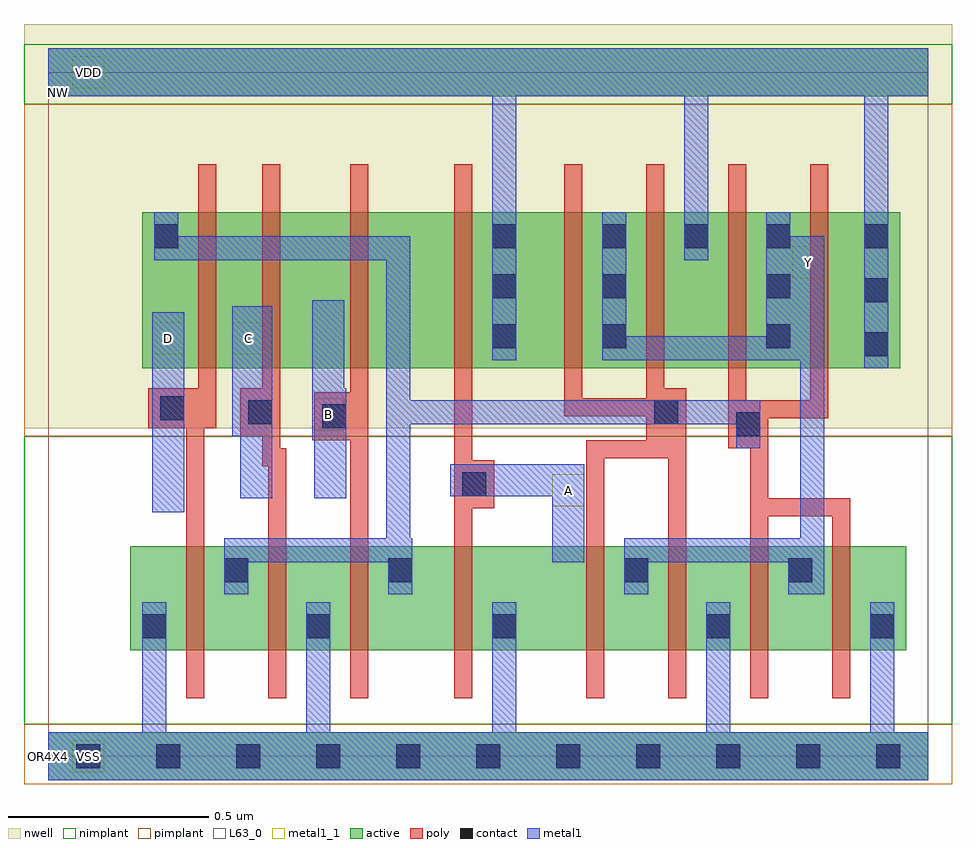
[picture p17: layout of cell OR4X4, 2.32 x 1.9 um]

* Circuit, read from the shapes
.subckt OR4X4 A B C D NW VDD VSS Y
M1 n1 D VSS VSS nfet w=0.26u l=0.045u
M2 VSS C n1 VSS nfet w=0.26u l=0.045u
M3 n1 B VSS VSS nfet w=0.26u l=0.045u
M4 VSS A n1 VSS nfet w=0.26u l=0.045u
M5 Y n1 VSS VSS nfet w=0.26u l=0.045u m=4
M6 n2 D n1 NW pfet w=0.39u l=0.045u
M7 n3 C n2 NW pfet w=0.39u l=0.045u
M8 n4 B n3 NW pfet w=0.39u l=0.045u
M9 VDD A n4 NW pfet w=0.39u l=0.045u
M10 Y n1 VDD NW pfet w=0.39u l=0.045u m=4
.ends

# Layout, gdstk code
import gdstk
lib = gdstk.Library(unit=1e-6, precision=5e-10)
def R(c, l, rs):  # rectangles x0, y0, x1, y1
    for r in rs: c.add(gdstk.rectangle(r[:2], r[2:], *l))
def A(c, l, x, y, w, h, nx, ny, dx, dy):  # array of equal rectangles
    R(c, l, [(x+i*dx, y+j*dy, x+i*dx+w, y+j*dy+h) for i in range(nx) for j in range(ny)])
def P(c, l, *ps):  # polygons
    for p in ps: c.add(gdstk.Polygon(p, *l))
active = (1, 0)
nwell = (2, 0)
poly = (3, 0)
nimplant = (4, 0)
pimplant = (5, 0)
contact = (6, 0)
metal1 = (7, 0)
metal1_1 = (7, 1)
L63_0 = (63, 0)

or4x4 = lib.new_cell('OR4X4')
R(or4x4, active, [(0,-0.06,2.2,0.06), (0.205,0.265,2.145,0.525), (0.235,0.97,2.13,1.36), (0,1.65,2.2,1.77)])
R(or4x4, nwell, [(-0.06,0.82,2.26,1.83), (0,1.61,0.05,1.71)])
P(or4x4, poly, [(0.375,1.48),(0.42,1.48),(0.42,0.82),(0.39,0.82),(0.39,0.145),(0.345,0.145),(0.345,0.82),(0.25,0.82),(0.25,0.92),(0.375,0.92)],
  [(0.535,1.48),(0.58,1.48),(0.58,0.77),(0.595,0.77),(0.595,0.145),(0.55,0.145),(0.55,0.725),(0.535,0.725),(0.535,0.8),(0.48,0.8),(0.48,0.92),(0.535,0.92)],
  [(0.755,1.48),(0.8,1.48),(0.8,0.145),(0.755,0.145),(0.755,0.79),(0.665,0.79),(0.665,0.91),(0.755,0.91)],
  [(1.015,1.48),(1.06,1.48),(1.06,0.74),(1.115,0.74),(1.115,0.62),(1.06,0.62),(1.06,0.145),(1.015,0.145)],
  [(1.29,1.48),(1.335,1.48),(1.335,0.895),(1.495,0.895),(1.495,1.48),(1.54,1.48),(1.54,0.92),(1.595,0.92),(1.595,0.145),(1.55,0.145),(1.55,0.745),(1.39,0.745),(1.39,0.145),(1.345,0.145),(1.345,0.79),(1.495,0.79),(1.495,0.85),(1.29,0.85)],
  [(1.7,1.48),(1.745,1.48),(1.745,0.89),(1.905,0.89),(1.905,1.48),(1.95,1.48),(1.95,0.845),(1.8,0.845),(1.8,0.645),(2.005,0.645),(2.005,0.145),(1.96,0.145),(1.96,0.6),(1.8,0.6),(1.8,0.145),(1.755,0.145),(1.755,0.77),(1.7,0.77)])
R(or4x4, nimplant, [(-0.06,0.08,2.26,0.8), (-0.06,1.63,2.26,1.78)])
R(or4x4, pimplant, [(-0.06,-0.07,2.26,0.08), (-0.06,0.8,2.26,1.63)])
A(or4x4, contact, 0.07, -0.03, 0.06, 0.06, 11, 1, 0.2, 0)
A(or4x4, contact, 2.04, 1, 0.06, 0.06, 1, 3, 0, 0.135)
A(or4x4, contact, 1.11, 1.02, 0.06, 0.06, 1, 3, 0, 0.125)
A(or4x4, contact, 1.385, 1.27, 0.06, 0.06, 3, 1, 0.205, 0)
R(or4x4, contact, [(0.235,0.295,0.295,0.355), (0.645,0.295,0.705,0.355), (1.11,0.295,1.17,0.355), (1.645,0.295,1.705,0.355), (2.055,0.295,2.115,0.355), (0.44,0.435,0.5,0.495), (0.85,0.435,0.91,0.495), (1.44,0.435,1.5,0.495), (1.85,0.435,1.91,0.495), (1.035,0.65,1.095,0.71), (1.72,0.8,1.78,0.86), (0.685,0.82,0.745,0.88), (0.5,0.83,0.56,0.89), (1.515,0.83,1.575,0.89), (0.28,0.84,0.34,0.9), (1.385,1.02,1.445,1.08), (1.795,1.02,1.855,1.08), (1.385,1.145,1.445,1.205), (1.795,1.145,1.855,1.205), (0.265,1.27,0.325,1.33)])
R(or4x4, metal1, [(0.235,0.06,0.295,0.385), (0.645,0.06,0.705,0.385), (1.11,0.06,1.17,0.385), (1.645,0.06,1.705,0.385), (2.055,0.06,2.115,0.385), (0.26,0.61,0.34,1.11), (2.04,0.97,2.1,1.65), (1.11,0.99,1.17,1.65), (1.59,1.24,1.65,1.65)])
P(or4x4, metal1, [(0.265,1.36),(0.325,1.36),(0.325,1.3),(0.905,1.3),(0.905,0.89),(1.78,0.89),(1.78,0.77),(1.72,0.77),(1.72,0.83),(0.905,0.83),(0.905,0.545),(0.91,0.545),(0.91,0.405),(0.85,0.405),(0.85,0.485),(0.5,0.485),(0.5,0.405),(0.44,0.405),(0.44,0.545),(0.845,0.545),(0.845,1.24),(0.265,1.24)],
  [(0.46,1.125),(0.56,1.125),(0.56,0.645),(0.48,0.645),(0.48,0.8),(0.46,0.8)],
  [(0.66,1.14),(0.74,1.14),(0.74,0.92),(0.745,0.92),(0.745,0.645),(0.665,0.645),(0.665,0.79),(0.66,0.79)],
  [(1.385,1.36),(1.445,1.36),(1.445,1.05),(1.795,1.05),(1.795,1.36),(1.855,1.36),(1.855,1.3),(1.94,1.3),(1.94,0.405),(1.85,0.405),(1.85,0.485),(1.5,0.485),(1.5,0.405),(1.44,0.405),(1.44,0.545),(1.88,0.545),(1.88,0.99),(1.385,0.99)],
  [(1.005,0.73),(1.34,0.73),(1.34,0.485),(1.26,0.485),(1.26,0.65),(1.005,0.65)])
R(or4x4, metal1_1, [(0.06,-0.04,0.14,0.04), (1.26,0.625,1.34,0.705), (0.66,0.815,0.74,0.895), (0.26,1.005,0.34,1.085), (0.46,1.005,0.54,1.085), (1.86,1.195,1.94,1.275), (0.06,1.67,0.14,1.75)])
R(or4x4, L63_0, [(0,0,2.2,1.71)])
or4x4.add(gdstk.FlexPath([(0,0),(2.2,0)], 0.12, ends="flush", simple_path=True, layer=7, datatype=0))  # metal1
or4x4.add(gdstk.FlexPath([(0,1.71),(2.2,1.71)], 0.12, ends="flush", simple_path=True, layer=7, datatype=0))  # metal1
or4x4.add(gdstk.Label('Y', (1.9,1.235), layer=7, texttype=1))
or4x4.add(gdstk.Label('B', (0.7,0.855), layer=7, texttype=1))
or4x4.add(gdstk.Label('C', (0.5,1.045), layer=7, texttype=1))
or4x4.add(gdstk.Label('D', (0.3,1.045), layer=7, texttype=1))
or4x4.add(gdstk.Label('A', (1.3,0.665), layer=7, texttype=1))
or4x4.add(gdstk.Label('VDD', (0.1,1.71), layer=7, texttype=1))
or4x4.add(gdstk.Label('VSS', (0.1,0), layer=7, texttype=1))
or4x4.add(gdstk.Label('VSS', (0.1,0), layer=7, texttype=1))
or4x4.add(gdstk.Label('VDD', (0.1,1.71), layer=7, texttype=1))
or4x4.add(gdstk.Label('A', (1.3,0.665), layer=7, texttype=1))
or4x4.add(gdstk.Label('D', (0.3,1.045), layer=7, texttype=1))
or4x4.add(gdstk.Label('C', (0.5,1.045), layer=7, texttype=1))
or4x4.add(gdstk.Label('B', (0.7,0.855), layer=7, texttype=1))
or4x4.add(gdstk.Label('Y', (1.9,1.235), layer=7, texttype=1))
or4x4.add(gdstk.Label('OR4X4', (0,0), layer=63, texttype=0))
or4x4.add(gdstk.Label('NW', (0.025,1.66), layer=2, texttype=0))
or4x4.add(gdstk.Label('NW', (0.025,1.63), layer=2, texttype=0))

lib.write_gds('OR4X4.gds')
